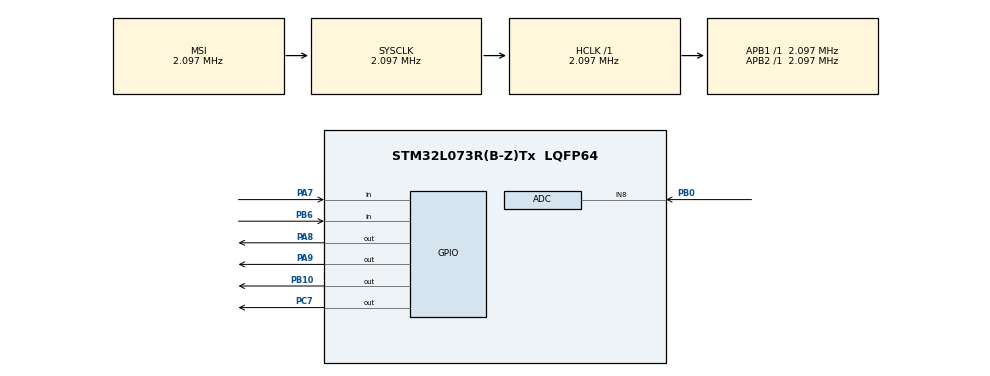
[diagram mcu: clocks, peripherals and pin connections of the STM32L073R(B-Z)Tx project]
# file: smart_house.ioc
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ADC.ContinuousConvMode=ENABLE
Mcu.Family=STM32L0
Mcu.Name=STM32L073R(B-Z)Tx
Mcu.Package=LQFP64
PA13.Mode=Serial_Wire
PA13.Signal=SYS_SWDIO
PA14.Mode=Serial_Wire
PA14.Signal=SYS_SWCLK
PA7.Signal=GPIO_Input
PA8.Signal=GPIO_Output
PA9.Signal=GPIO_Output
PB0.Mode=IN8
PB0.Signal=ADC_IN8
PB10.Signal=GPIO_Output
PB6.Signal=GPIO_Input
PC7.Signal=GPIO_Output
ProjectManager.HeapSize=0x200
ProjectManager.StackSize=0x400
ProjectManager.TargetToolchain=STM32CubeIDE
RCC.AHBFreq_Value=2097000
RCC.APB1Freq_Value=2097000
RCC.APB1TimFreq_Value=2097000
RCC.APB2Freq_Value=2097000
RCC.APB2TimFreq_Value=2097000
RCC.HSE_VALUE=8000000
RCC.HSI16_VALUE=16000000
RCC.HSI48_VALUE=48000000
RCC.HSI_VALUE=16000000
RCC.LSE_VALUE=32768
RCC.MSI_VALUE=2097000
RCC.SYSCLKFreq_VALUE=2097000
RCC.VCOOutputFreq_Value=48000000
board=custom

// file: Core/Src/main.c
/* USER CODE BEGIN Header */
/**
  ******************************************************************************
  * @file           : main.c
  * @brief          : Main program body
  ******************************************************************************
  * @attention
  *
  * Copyright (c) 2023 STMicroelectronics.
  * All rights reserved.
  *
  * This software is licensed under terms that can be found in the LICENSE file
  * in the root directory of this software component.
  * If no LICENSE file comes with this software, it is provided AS-IS.
  *
  ******************************************************************************
  */
/* USER CODE END Header */
#include "main.h"

ADC_HandleTypeDef hadc;

void SystemClock_Config(void);
static void MX_GPIO_Init(void);
static void MX_ADC_Init(void);

/* USER CODE BEGIN 0 */
uint16_t readValue;
/* USER CODE END 0 */

int main(void)
{

  /* MCU Configuration--------------------------------------------------------*/

  /* Reset of all peripherals, Initializes the Flash interface and the Systick. */
  HAL_Init();

  /* Configure the system clock */
  SystemClock_Config();

  /* Initialize all configured peripherals */
  MX_GPIO_Init();
  MX_ADC_Init();

  /* Infinite loop */
  /* USER CODE BEGIN WHILE */
  while (1)
  {
	  HAL_ADC_PollForConversion(&hadc,1000);
	  readValue = HAL_ADC_GetValue(&hadc);
	  if(readValue<1000 ){
	  HAL_GPIO_WritePin(GPIOB, GPIO_PIN_10,GPIO_PIN_SET);
	  HAL_GPIO_WritePin(GPIOA, GPIO_PIN_8,GPIO_PIN_RESET);
	  HAL_GPIO_WritePin(GPIOA, GPIO_PIN_9,GPIO_PIN_RESET);
	  } if(readValue>1000 && readValue<1750 ){
	  HAL_GPIO_WritePin(GPIOB, GPIO_PIN_10,GPIO_PIN_RESET);
	  HAL_GPIO_WritePin(GPIOA, GPIO_PIN_8,GPIO_PIN_SET);
	  HAL_GPIO_WritePin(GPIOA, GPIO_PIN_9,GPIO_PIN_RESET);
	  HAL_GPIO_WritePin(GPIOC, GPIO_PIN_7,GPIO_PIN_RESET);
	  }if(readValue>1750 && readValue<2500){
	  HAL_GPIO_WritePin(GPIOB, GPIO_PIN_10,GPIO_PIN_RESET);
	  HAL_GPIO_WritePin(GPIOA, GPIO_PIN_8,GPIO_PIN_RESET);
	  HAL_GPIO_WritePin(GPIOA, GPIO_PIN_9,GPIO_PIN_SET);
	  HAL_GPIO_WritePin(GPIOC, GPIO_PIN_7,GPIO_PIN_RESET);
	  }if(readValue>1750 && HAL_GPIO_ReadPin(GPIOB,
	 GPIO_PIN_6)==GPIO_PIN_RESET){
	  HAL_GPIO_WritePin(GPIOC, GPIO_PIN_7,GPIO_PIN_SET);
	  }else{
	  HAL_GPIO_WritePin(GPIOC, GPIO_PIN_7,GPIO_PIN_RESET);
	  }if(readValue<1000 && HAL_GPIO_ReadPin(GPIOA,
	 GPIO_PIN_7)==GPIO_PIN_RESET){
	  HAL_GPIO_WritePin(GPIOC, GPIO_PIN_7,GPIO_PIN_SET);
	  }else{
	  HAL_GPIO_WritePin(GPIOC, GPIO_PIN_7,GPIO_PIN_RESET);
	  }
    /* USER CODE END WHILE */

  }
}

void SystemClock_Config(void)
{
  RCC_OscInitTypeDef RCC_OscInitStruct = {0};
  RCC_ClkInitTypeDef RCC_ClkInitStruct = {0};

  /** Configure the main internal regulator output voltage
  */
  __HAL_PWR_VOLTAGESCALING_CONFIG(PWR_REGULATOR_VOLTAGE_SCALE1);

  /** Initializes the RCC Oscillators according to the specified parameters
  * in the RCC_OscInitTypeDef structure.
  */
  RCC_OscInitStruct.OscillatorType = RCC_OSCILLATORTYPE_MSI;
  RCC_OscInitStruct.MSIState = RCC_MSI_ON;
  RCC_OscInitStruct.MSICalibrationValue = 0;
  RCC_OscInitStruct.MSIClockRange = RCC_MSIRANGE_5;
  RCC_OscInitStruct.PLL.PLLState = RCC_PLL_NONE;
  if (HAL_RCC_OscConfig(&RCC_OscInitStruct) != HAL_OK)
  {
    Error_Handler();
  }

  /** Initializes the CPU, AHB and APB buses clocks
  */
  RCC_ClkInitStruct.ClockType = RCC_CLOCKTYPE_HCLK|RCC_CLOCKTYPE_SYSCLK
                              |RCC_CLOCKTYPE_PCLK1|RCC_CLOCKTYPE_PCLK2;
  RCC_ClkInitStruct.SYSCLKSource = RCC_SYSCLKSOURCE_MSI;
  RCC_ClkInitStruct.AHBCLKDivider = RCC_SYSCLK_DIV1;
  RCC_ClkInitStruct.APB1CLKDivider = RCC_HCLK_DIV1;
  RCC_ClkInitStruct.APB2CLKDivider = RCC_HCLK_DIV1;

  if (HAL_RCC_ClockConfig(&RCC_ClkInitStruct, FLASH_LATENCY_0) != HAL_OK)
  {
    Error_Handler();
  }
}

static void MX_ADC_Init(void)
{

  ADC_ChannelConfTypeDef sConfig = {0};

  /** Configure the global features of the ADC (Clock, Resolution, Data Alignment and number of conversion)
  */
  hadc.Instance = ADC1;
  hadc.Init.OversamplingMode = DISABLE;
  hadc.Init.ClockPrescaler = ADC_CLOCK_SYNC_PCLK_DIV1;
  hadc.Init.Resolution = ADC_RESOLUTION_12B;
  hadc.Init.SamplingTime = ADC_SAMPLETIME_1CYCLE_5;
  hadc.Init.ScanConvMode = ADC_SCAN_DIRECTION_FORWARD;
  hadc.Init.DataAlign = ADC_DATAALIGN_RIGHT;
  hadc.Init.ContinuousConvMode = ENABLE;
  hadc.Init.DiscontinuousConvMode = DISABLE;
  hadc.Init.ExternalTrigConvEdge = ADC_EXTERNALTRIGCONVEDGE_NONE;
  hadc.Init.ExternalTrigConv = ADC_SOFTWARE_START;
  hadc.Init.DMAContinuousRequests = DISABLE;
  hadc.Init.EOCSelection = ADC_EOC_SINGLE_CONV;
  hadc.Init.Overrun = ADC_OVR_DATA_PRESERVED;
  hadc.Init.LowPowerAutoWait = DISABLE;
  hadc.Init.LowPowerFrequencyMode = ENABLE;
  hadc.Init.LowPowerAutoPowerOff = DISABLE;
  if (HAL_ADC_Init(&hadc) != HAL_OK)
  {
    Error_Handler();
  }

  /** Configure for the selected ADC regular channel to be converted.
  */
  sConfig.Channel = ADC_CHANNEL_8;
  sConfig.Rank = ADC_RANK_CHANNEL_NUMBER;
  if (HAL_ADC_ConfigChannel(&hadc, &sConfig) != HAL_OK)
  {
    Error_Handler();
  }

}

static void MX_GPIO_Init(void)
{
  GPIO_InitTypeDef GPIO_InitStruct = {0};

  /* GPIO Ports Clock Enable */
  __HAL_RCC_GPIOA_CLK_ENABLE();
  __HAL_RCC_GPIOB_CLK_ENABLE();
  __HAL_RCC_GPIOC_CLK_ENABLE();

  /*Configure GPIO pin Output Level */
  HAL_GPIO_WritePin(GPIOB, GPIO_PIN_10, GPIO_PIN_RESET);

  /*Configure GPIO pin Output Level */
  HAL_GPIO_WritePin(GPIOC, GPIO_PIN_7, GPIO_PIN_RESET);

  /*Configure GPIO pin Output Level */
  HAL_GPIO_WritePin(GPIOA, GPIO_PIN_8|GPIO_PIN_9, GPIO_PIN_RESET);

  /*Configure GPIO pin : PA7 */
  GPIO_InitStruct.Pin = GPIO_PIN_7;
  GPIO_InitStruct.Mode = GPIO_MODE_INPUT;
  GPIO_InitStruct.Pull = GPIO_NOPULL;
  HAL_GPIO_Init(GPIOA, &GPIO_InitStruct);

  /*Configure GPIO pin : PB10 */
  GPIO_InitStruct.Pin = GPIO_PIN_10;
  GPIO_InitStruct.Mode = GPIO_MODE_OUTPUT_PP;
  GPIO_InitStruct.Pull = GPIO_NOPULL;
  GPIO_InitStruct.Speed = GPIO_SPEED_FREQ_LOW;
  HAL_GPIO_Init(GPIOB, &GPIO_InitStruct);

  /*Configure GPIO pin : PC7 */
  GPIO_InitStruct.Pin = GPIO_PIN_7;
  GPIO_InitStruct.Mode = GPIO_MODE_OUTPUT_PP;
  GPIO_InitStruct.Pull = GPIO_NOPULL;
  GPIO_InitStruct.Speed = GPIO_SPEED_FREQ_LOW;
  HAL_GPIO_Init(GPIOC, &GPIO_InitStruct);

  /*Configure GPIO pins : PA8 PA9 */
  GPIO_InitStruct.Pin = GPIO_PIN_8|GPIO_PIN_9;
  GPIO_InitStruct.Mode = GPIO_MODE_OUTPUT_PP;
  GPIO_InitStruct.Pull = GPIO_NOPULL;
  GPIO_InitStruct.Speed = GPIO_SPEED_FREQ_LOW;
  HAL_GPIO_Init(GPIOA, &GPIO_InitStruct);

  /*Configure GPIO pin : PB6 */
  GPIO_InitStruct.Pin = GPIO_PIN_6;
  GPIO_InitStruct.Mode = GPIO_MODE_INPUT;
  GPIO_InitStruct.Pull = GPIO_NOPULL;
  HAL_GPIO_Init(GPIOB, &GPIO_InitStruct);

}

void Error_Handler(void)
{
  __disable_irq();
  while (1)
  {
  }
}
